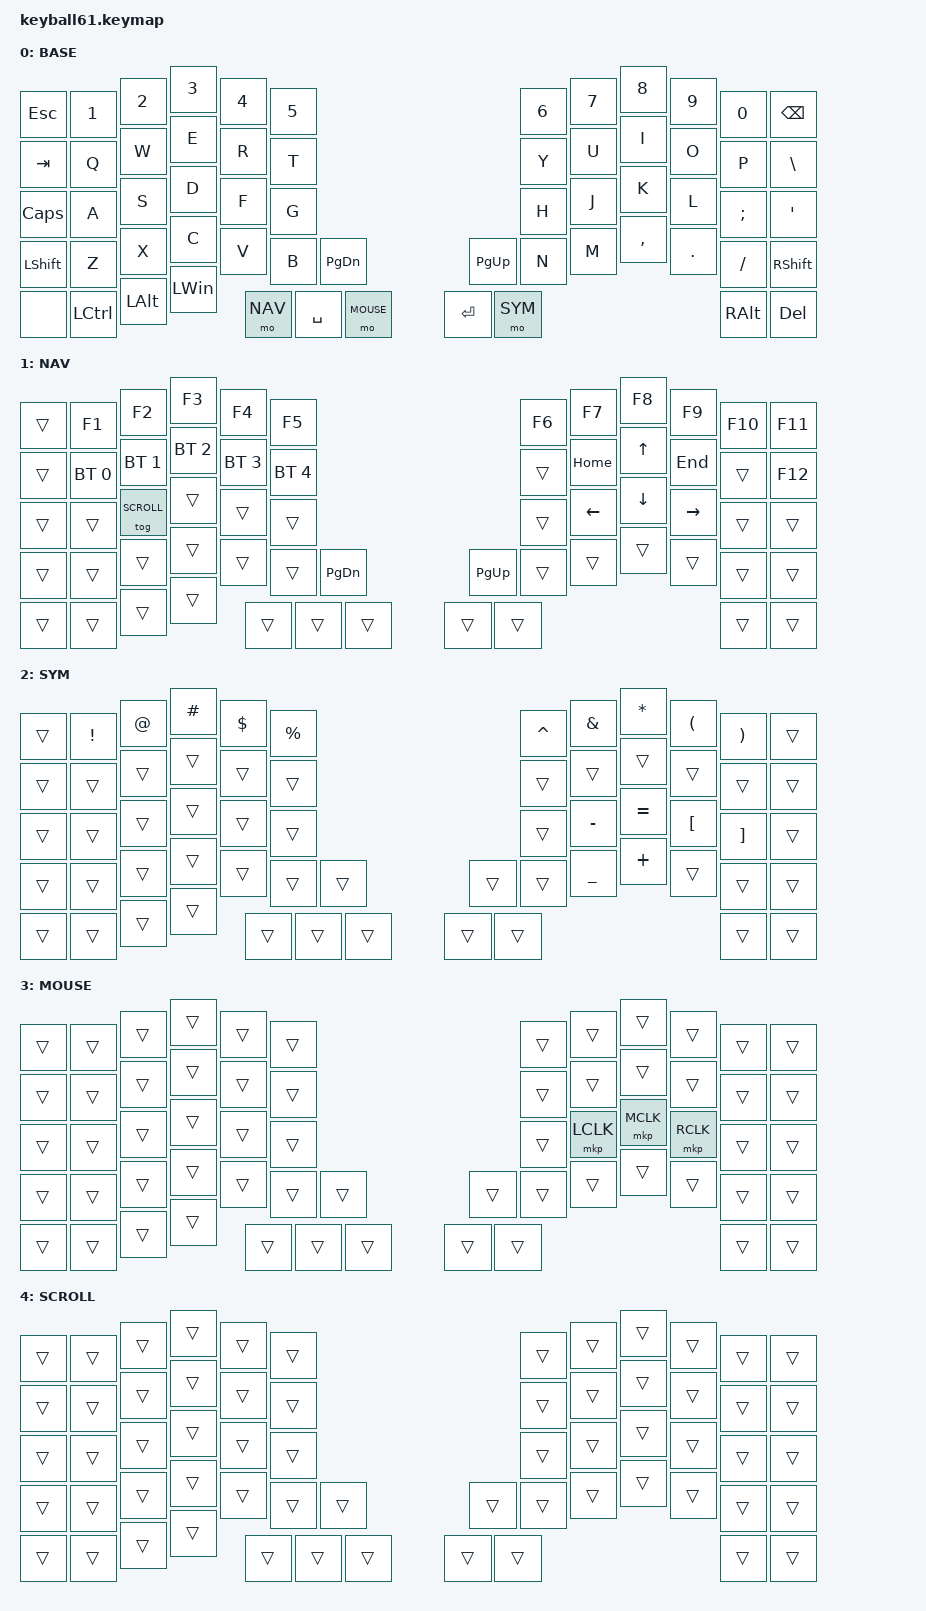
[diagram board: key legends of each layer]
/*
 * Keyball61 Cirque40 first-article keymap.
 * SPDX-License-Identifier: MIT
 *
 * Layer 4 MUST remain the SCROLL layer unless keyball61_right.overlay is
 * changed too; the Cirque listener uses layer 4 to switch full-pad XY to wheel.
 */

#define BASE   0
#define NAV    1
#define SYM    2
#define MOUSE  3
#define SCROLL 4

#include <behaviors.dtsi>
#include <dt-bindings/zmk/keys.h>
#include <dt-bindings/zmk/bt.h>
#include <dt-bindings/zmk/mouse.h>

/ {
    keymap {
        compatible = "zmk,keymap";

        base_layer {
            label = "BASE";
            bindings = <
                &kp ESC         &kp N1          &kp N2          &kp N3          &kp N4          &kp N5          &kp N6          &kp N7          &kp N8          &kp N9          &kp N0          &kp BSPC
                &kp TAB         &kp Q           &kp W           &kp E           &kp R           &kp T           &kp Y           &kp U           &kp I           &kp O           &kp P           &kp BACKSLASH
                &kp CAPS        &kp A           &kp S           &kp D           &kp F           &kp G           &kp H           &kp J           &kp K           &kp L           &kp SEMI        &kp SQT
                &kp LEFT_SHIFT  &kp Z           &kp X           &kp C           &kp V           &kp B           &kp PAGE_DOWN   &kp PAGE_UP     &kp N           &kp M           &kp COMMA       &kp DOT         &kp FSLH        &kp RIGHT_SHIFT
                &none           &kp LCTRL       &kp LEFT_ALT    &kp LEFT_WIN    &mo NAV          &kp SPACE       &mo MOUSE        &kp ENTER       &mo SYM          &kp RIGHT_ALT    &kp DELETE
            >;
        };

        nav_layer {
            label = "NAV";
            bindings = <
                &trans          &kp F1          &kp F2          &kp F3          &kp F4          &kp F5          &kp F6          &kp F7          &kp F8          &kp F9          &kp F10         &kp F11
                &trans          &bt BT_SEL 0    &bt BT_SEL 1    &bt BT_SEL 2    &bt BT_SEL 3    &bt BT_SEL 4    &trans          &kp HOME        &kp UP          &kp END         &trans          &kp F12
                &trans          &trans          &tog SCROLL     &trans          &trans          &trans          &trans          &kp LEFT        &kp DOWN        &kp RIGHT       &trans          &trans
                &trans          &trans          &trans          &trans          &trans          &trans          &kp PAGE_DOWN   &kp PAGE_UP     &trans          &trans          &trans          &trans          &trans          &trans
                &trans          &trans          &trans          &trans          &trans          &trans          &trans          &trans          &trans          &trans          &trans
            >;
        };

        sym_layer {
            label = "SYM";
            bindings = <
                &trans          &kp EXCLAMATION &kp AT_SIGN     &kp HASH        &kp DOLLAR      &kp PERCENT     &kp CARET       &kp AMPERSAND   &kp ASTERISK    &kp LEFT_PARENTHESIS &kp RIGHT_PARENTHESIS &trans
                &trans          &trans          &trans          &trans          &trans          &trans          &trans          &trans          &trans          &trans          &trans          &trans
                &trans          &trans          &trans          &trans          &trans          &trans          &trans          &kp MINUS       &kp EQUAL       &kp LEFT_BRACKET &kp RIGHT_BRACKET &trans
                &trans          &trans          &trans          &trans          &trans          &trans          &trans          &trans          &trans          &kp UNDERSCORE  &kp PLUS        &trans          &trans          &trans
                &trans          &trans          &trans          &trans          &trans          &trans          &trans          &trans          &trans          &trans          &trans
            >;
        };

        mouse_layer {
            label = "MOUSE";
            bindings = <
                &trans          &trans          &trans          &trans          &trans          &trans          &trans          &trans          &trans          &trans          &trans          &trans
                &trans          &trans          &trans          &trans          &trans          &trans          &trans          &trans          &trans          &trans          &trans          &trans
                &trans          &trans          &trans          &trans          &trans          &trans          &trans          &mkp LCLK       &mkp MCLK       &mkp RCLK       &trans          &trans
                &trans          &trans          &trans          &trans          &trans          &trans          &trans          &trans          &trans          &trans          &trans          &trans          &trans          &trans
                &trans          &trans          &trans          &trans          &trans          &trans          &trans          &trans          &trans          &trans          &trans
            >;
        };

        scroll_layer {
            label = "SCROLL";
            bindings = <
                &trans &trans &trans &trans &trans &trans &trans &trans &trans &trans &trans &trans
                &trans &trans &trans &trans &trans &trans &trans &trans &trans &trans &trans &trans
                &trans &trans &trans &trans &trans &trans &trans &trans &trans &trans &trans &trans
                &trans &trans &trans &trans &trans &trans &trans &trans &trans &trans &trans &trans &trans &trans
                &trans &trans &trans &trans &trans &trans &trans &trans &trans &trans &trans
            >;
        };
    };
};
